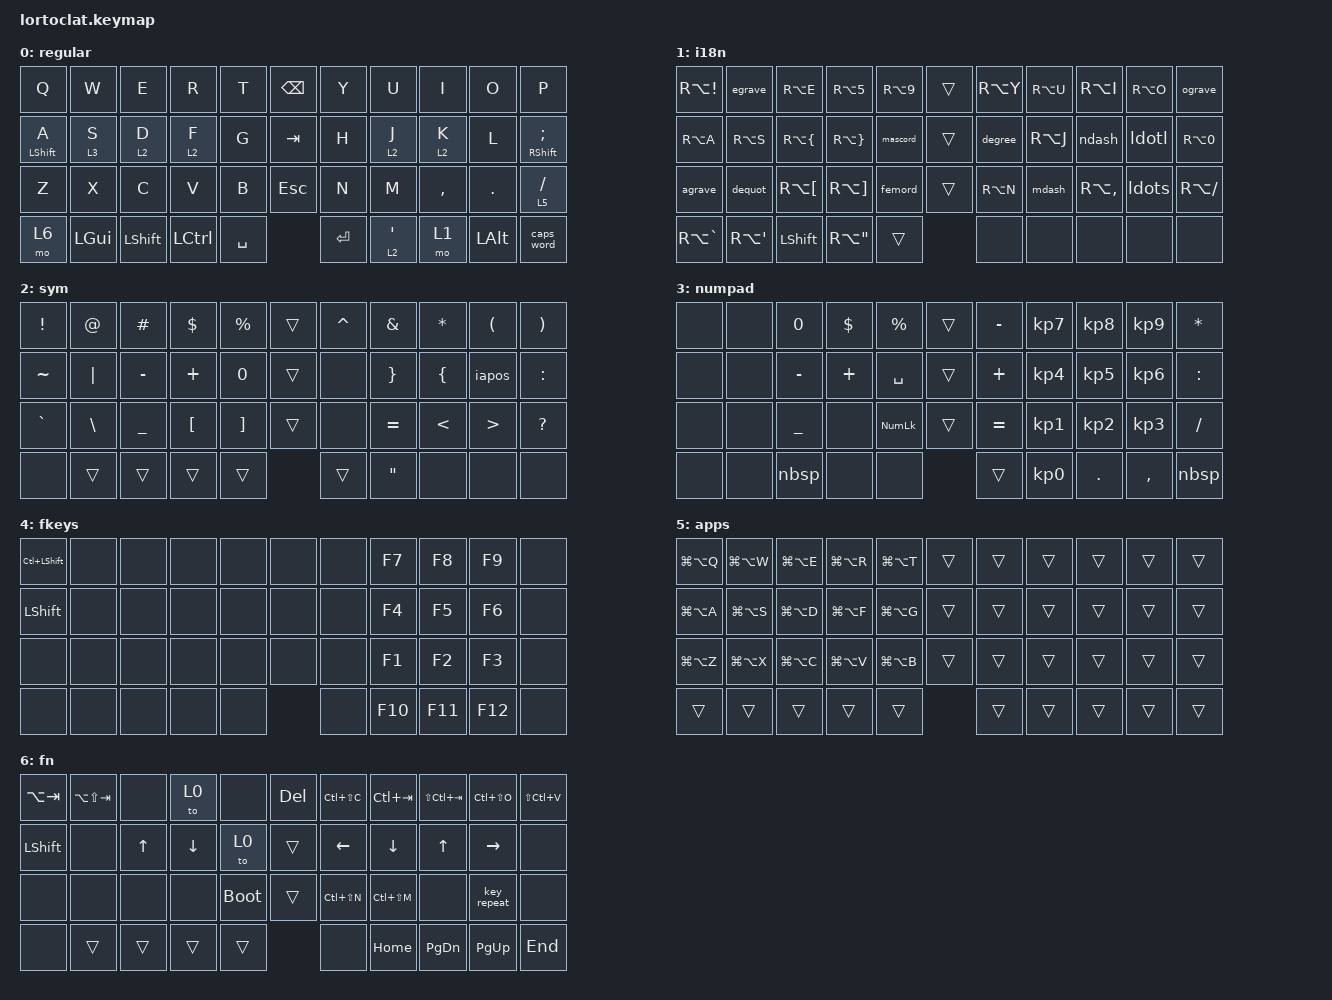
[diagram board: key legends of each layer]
/*
 * Copyright (c) 2020 The ZMK Contributors
 *
 * SPDX-License-Identifier: MIT
 */

#include <behaviors.dtsi>
#include <dt-bindings/zmk/keys.h>

&mt {
    tapping-term-ms = <201>;
    flavor = "tap-preferred";
};

/ {
    macros {
        ldots: ldots {
            compatible = "zmk,behavior-macro";
            wait-ms = <0>;
            tap-ms = <0>;
            #binding-cells = <0>;
            bindings =
                <&macro_tap>,
                <&kp LC(LS(U))>,
                <&macro_wait_time 50>,
                <&macro_tap>,
                <&kp N2 &kp N0 &kp N2 &kp N6>,
                <&macro_wait_time 20>,
                <&macro_tap>,
                <&kp ENTER>;
        };

        femord: femord {
            compatible = "zmk,behavior-macro";
            wait-ms = <0>;
            tap-ms = <0>;
            #binding-cells = <0>;
            bindings =
                <&macro_tap>,
                <&kp LC(LS(U))>,
                <&macro_wait_time 50>,
                <&macro_tap>,
                <&kp N0 &kp N0 &kp A &kp A>,
                <&macro_wait_time 20>,
                <&macro_tap>,
                <&kp ENTER>;
        };

        mascord: mascord {
            compatible = "zmk,behavior-macro";
            wait-ms = <0>;
            tap-ms = <0>;
            #binding-cells = <0>;
            bindings =
                <&macro_tap>,
                <&kp LC(LS(U))>,
                <&macro_wait_time 50>,
                <&macro_tap>,
                <&kp N0 &kp N0 &kp B &kp A>,
                <&macro_wait_time 20>,
                <&macro_tap>,
                <&kp ENTER>;
        };

        ndash: ndash {
            compatible = "zmk,behavior-macro";
            wait-ms = <0>;
            tap-ms = <0>;
            #binding-cells = <0>;
            bindings =
                <&macro_tap>,
                <&kp LC(LS(U))>,
                <&macro_wait_time 50>,
                <&macro_tap>,
                <&kp N2 &kp N0 &kp N1 &kp N3>,
                <&macro_wait_time 20>,
                <&macro_tap>,
                <&kp ENTER>;
        };

        mdash: mdash {
            compatible = "zmk,behavior-macro";
            wait-ms = <0>;
            tap-ms = <0>;
            #binding-cells = <0>;
            bindings =
                <&macro_tap>,
                <&kp LC(LS(U))>,
                <&macro_wait_time 50>,
                <&macro_tap>,
                <&kp N2 &kp N0 &kp N1 &kp N4>,
                <&macro_wait_time 20>,
                <&macro_tap>,
                <&kp ENTER>;
        };

        nbsp: nbsp {
            compatible = "zmk,behavior-macro";
            wait-ms = <0>;
            tap-ms = <0>;
            #binding-cells = <0>;
            bindings =
                <&macro_tap>,
                <&kp LC(LS(U))>,
                <&macro_wait_time 50>,
                <&macro_tap>,
                <&kp N0 &kp N0 &kp A &kp N0>,
                <&macro_wait_time 20>,
                <&macro_tap>,
                <&kp ENTER>;
        };

        dequot: dequot {
            compatible = "zmk,behavior-macro";
            wait-ms = <0>;
            tap-ms = <0>;
            #binding-cells = <0>;
            bindings =
                <&macro_tap>,
                <&kp LC(LS(U))>,
                <&macro_wait_time 50>,
                <&macro_tap>,
                <&kp N2 &kp N0 &kp N1 &kp E>,
                <&macro_wait_time 20>,
                <&macro_tap>,
                <&kp ENTER>;
        };

        ldotl: ldotl {
            compatible = "zmk,behavior-macro";
            wait-ms = <0>;
            tap-ms = <0>;
            #binding-cells = <0>;
            bindings =
                <&macro_tap>,
                <&kp L &kp LC(LS(U))>,
                <&macro_wait_time 50>,
                <&macro_tap>,
                <&kp N0 &kp N0 &kp B &kp N7>,
                <&macro_wait_time 20>,
                <&macro_tap>,
                <&kp ENTER>,
                <&macro_tap>,
                <&kp L>;
        };

        ograve: ograve {
            compatible = "zmk,behavior-macro";
            wait-ms = <0>;
            tap-ms = <0>;
            #binding-cells = <0>;
            bindings = <&macro_tap>, <&kp RA(GRAVE) &kp O>;
        };

        agrave: agrave {
            compatible = "zmk,behavior-macro";
            wait-ms = <0>;
            tap-ms = <0>;
            #binding-cells = <0>;
            bindings = <&macro_tap>, <&kp RA(GRAVE) &kp A>;
        };

        egrave: egrave {
            compatible = "zmk,behavior-macro";
            wait-ms = <0>;
            tap-ms = <0>;
            #binding-cells = <0>;
            bindings = <&macro_tap>, <&kp RA(GRAVE) &kp E>;
        };

        degree: degree {
            compatible = "zmk,behavior-macro";
            wait-ms = <0>;
            tap-ms = <0>;
            #binding-cells = <0>;
            bindings = <&macro_tap>, <&kp RA(LS(N0)) &kp SPACE>;
        };

        oumlaut: oumlaut {
            compatible = "zmk,behavior-macro";
            wait-ms = <0>;
            tap-ms = <0>;
            #binding-cells = <0>;
            bindings = <&macro_tap>, <&kp RA(DQT) &kp O>;

            label = "OUMLAUT";
        };

        aumlaut: aumlaut {
            compatible = "zmk,behavior-macro";
            wait-ms = <0>;
            tap-ms = <0>;
            #binding-cells = <0>;
            bindings = <&macro_tap>, <&kp RA(DQT) &kp A>;

            label = "AUMLAUT";
        };

        ispace: macro_ispace {
            compatible = "zmk,behavior-macro";
            #binding-cells = <0>;
            bindings = <&macro_tap>, <&kp LS(I) &kp SPACE>;

            label = "MACRO_ISPACE";
        };

        iapos: iapos {
            compatible = "zmk,behavior-macro";
            #binding-cells = <0>;
            bindings = <&macro_tap>, <&kp LS(I) &kp APOS>;

            label = "IAPOS";
        };

        capograve: capograve {
            compatible = "zmk,behavior-macro";
            wait-ms = <0>;
            tap-ms = <0>;
            #binding-cells = <0>;
            bindings = <&macro_tap>, <&kp RA(LS(GRAVE)) &kp LS(O)>;

            label = "CAPOGRAVE";
        };

        capagrave: capagrave {
            compatible = "zmk,behavior-macro";
            wait-ms = <0>;
            tap-ms = <0>;
            #binding-cells = <0>;
            bindings = <&macro_tap>, <&kp RA(GRAVE) &kp LS(A)>;

            label = "CAPAGRAVE";
        };

        capegrave: capegrave {
            compatible = "zmk,behavior-macro";
            wait-ms = <0>;
            tap-ms = <0>;
            #binding-cells = <0>;
            bindings = <&macro_tap>, <&kp RA(GRAVE) &kp LS(E)>;

            label = "CAPEGRAVE";
        };

        capldotl: capldotl {
            compatible = "zmk,behavior-macro";
            wait-ms = <0>;
            tap-ms = <0>;
            #binding-cells = <0>;
            bindings =
                <&macro_tap>,
                <&kp LS(L) &kp LC(LS(U))>,
                <&macro_wait_time 50>,
                <&macro_tap>,
                <&kp N0 &kp N0 &kp B &kp N7>,
                <&macro_wait_time 20>,
                <&macro_tap>,
                <&kp ENTER>,
                <&macro_tap>,
                <&kp LS(L)>;

            label = "CAPLDOTL";
        };
    };

    behaviors {
        hkp: hkp {
            compatible = "zmk,behavior-hold-tap";
            label = "HKP";
            bindings = <&kp>, <&kp>;

            #binding-cells = <2>;
            flavor = "tap-preferred";
            tapping-term-ms = <200>;
            quick-tap-ms = <250>;
        };

        mokp: mokp {
            compatible = "zmk,behavior-hold-tap";
            label = "MOKP";
            bindings = <&mo>, <&kp>;

            #binding-cells = <2>;
            flavor = "tap-preferred";
            tapping-term-ms = <200>;
            quick-tap-ms = <250>;
        };
    };

    combos {
        compatible = "zmk,combos";

        fkeys {
            bindings = <&mo 4>;
            key-positions = <33 22>;
            timeout-ms = <5000>;
        };

        power {
            bindings = <&kp C_POWER>;
            key-positions = <5 27>;
        };

        i18n_uppercase {
            bindings = <&mo 1>;
            key-positions = <35 40>;
        };
    };

    keymap {
        compatible = "zmk,keymap";

        regular {
            bindings = <
&kp Q         &kp W      &kp E      &kp R      &kp T      &kp BSPC  &kp Y      &kp U         &kp I      &kp O     &kp P
&hkp LSHFT A  &mokp 3 S  &mokp 2 D  &mokp 2 F  &kp G      &kp TAB   &kp H      &mokp 2 J     &mokp 2 K  &kp L     &hkp RSHFT SEMI
&kp Z         &kp X      &kp C      &kp V      &kp B      &kp ESC   &kp N      &kp M         &kp COMMA  &kp DOT   &mokp 5 FSLH
&mo 6         &kp LGUI   &kp LSHFT  &kp LCTRL  &kp SPACE            &kp ENTER  &mokp 2 APOS  &mo 1      &kp LALT  &caps_word
            >;
        };

        i18n {
            bindings = <
&kp RA(EXCL)   &egrave      &kp RA(E)     &kp RA(N5)    &kp RA(N9)  &trans  &kp RA(Y)  &kp RA(U)  &kp RA(I)      &kp RA(O)  &ograve
&kp RA(A)      &kp RA(S)    &kp RA(LBRC)  &kp RA(RBRC)  &mascord    &trans  &degree    &kp RA(J)  &ndash         &ldotl     &kp RA(N0)
&agrave        &dequot      &kp RA(LBKT)  &kp RA(RBKT)  &femord     &trans  &kp RA(N)  &mdash     &kp RA(COMMA)  &ldots     &kp RA(SLASH)
&kp RA(GRAVE)  &kp RA(SQT)  &kp LSHFT     &kp RA(DQT)   &trans              &none      &none      &none          &none      &none
            >;
        };

        sym {
            bindings = <
&kp EXCL   &kp AT    &kp HASH   &kp DOLLAR  &kp PERCENT  &trans  &kp CARET  &kp AMPS   &kp STAR  &kp LPAR  &kp RPAR
&kp TILDE  &kp PIPE  &kp MINUS  &kp PLUS    &kp N0       &trans  &none      &kp RBRC   &kp LBRC  &iapos    &kp COLON
&kp GRAVE  &kp BSLH  &kp UNDER  &kp LBKT    &kp RBKT     &trans  &none      &kp EQUAL  &kp LT    &kp GT    &kp QMARK
&none      &trans    &trans     &trans      &trans               &trans     &kp DQT    &none     &none     &none
            >;
        };

        numpad {
            bindings = <
&none  &none  &kp N0     &kp DOLLAR  &kp PERCENT  &trans  &kp MINUS  &kp KP_N7  &kp KP_N8  &kp KP_N9  &kp STAR
&none  &none  &kp MINUS  &kp PLUS    &kp SPACE    &trans  &kp PLUS   &kp KP_N4  &kp KP_N5  &kp KP_N6  &kp COLON
&none  &none  &kp UNDER  &none       &kp KP_NUM   &trans  &kp EQUAL  &kp KP_N1  &kp KP_N2  &kp KP_N3  &kp SLASH
&none  &none  &nbsp      &none       &none                &trans     &kp KP_N0  &kp DOT    &kp COMMA  &nbsp
            >;
        };

        fkeys {
            bindings = <
&kp LC(LSHFT)  &none  &none  &none  &none  &none  &none  &kp F7   &kp F8   &kp F9   &none
&kp LSHFT      &none  &none  &none  &none  &none  &none  &kp F4   &kp F5   &kp F6   &none
&none          &none  &none  &none  &none  &none  &none  &kp F1   &kp F2   &kp F3   &none
&none          &none  &none  &none  &none         &none  &kp F10  &kp F11  &kp F12  &none
            >;
        };

        apps {
            bindings = <
&kp LG(LA(Q))  &kp LG(LA(W))  &kp LG(LA(E))  &kp LG(LA(R))  &kp LG(LA(T))  &trans  &trans  &trans  &trans  &trans  &trans
&kp LG(LA(A))  &kp LG(LA(S))  &kp LG(LA(D))  &kp LG(LA(F))  &kp LG(LA(G))  &trans  &trans  &trans  &trans  &trans  &trans
&kp LG(LA(Z))  &kp LG(LA(X))  &kp LG(LA(C))  &kp LG(LA(V))  &kp LG(LA(B))  &trans  &trans  &trans  &trans  &trans  &trans
&trans         &trans         &trans         &trans         &trans                 &trans  &trans  &trans  &trans  &trans
            >;
        };

        fn {
            bindings = <
&kp LA(TAB)  &kp LA(LS(TAB))  &none   &to 0     &none        &kp DEL  &kp LC(LS(C))  &kp LC(TAB)    &kp LS(LC(TAB))  &kp LC(LS(O))  &kp LS(LC(V))
&kp LSHFT    &none            &kp UP  &kp DOWN  &to 0        &trans   &kp LEFT       &kp DOWN       &kp UP           &kp RIGHT      &none
&none        &none            &none   &none     &bootloader  &trans   &kp LC(LS(N))  &kp LC(LS(M))  &none            &key_repeat    &none
&none        &trans           &trans  &trans    &trans                &none          &kp HOME       &kp PG_DN        &kp PG_UP      &kp END
            >;
        };
    };

    conditional_layers { compatible = "zmk,conditional-layers"; };
};
